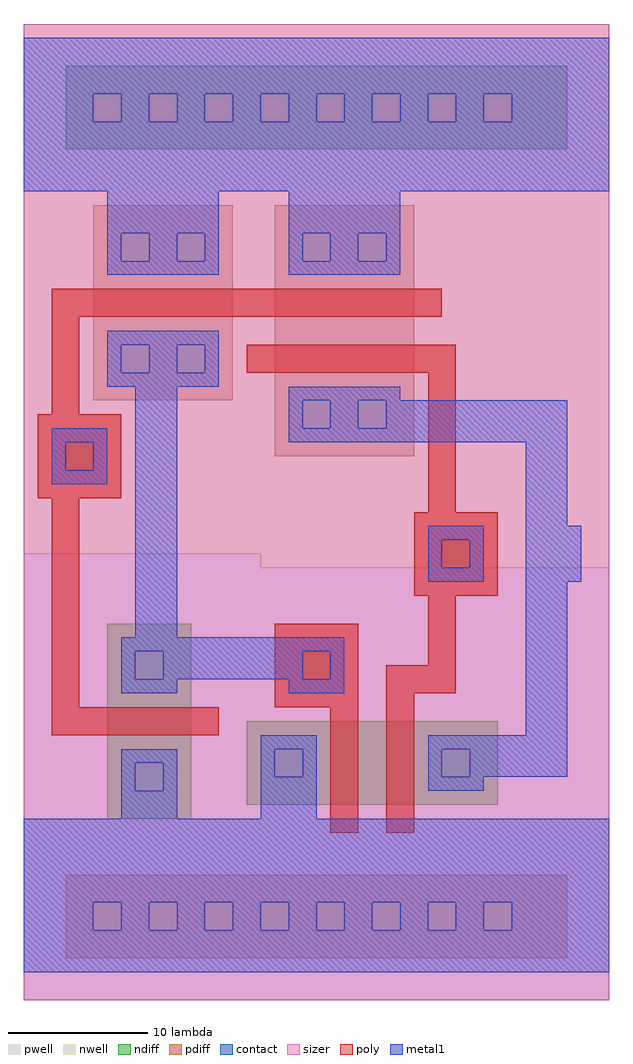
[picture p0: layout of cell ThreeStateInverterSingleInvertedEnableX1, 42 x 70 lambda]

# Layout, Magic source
magic
tech LibreSilicon-test000-concept-mg-70-7
<< sizer >>
rect 0 0 42 70
<< metal1 >>
rect 0 65 42 69
rect 0 63 5 65
rect 7 63 9 65
rect 11 63 13 65
rect 15 63 17 65
rect 19 63 21 65
rect 23 63 25 65
rect 27 63 29 65
rect 31 63 33 65
rect 35 63 42 65
rect 0 58 42 63
rect 6 55 14 58
rect 19 55 27 58
rect 6 53 7 55
rect 9 53 11 55
rect 13 53 14 55
rect 19 53 20 55
rect 22 53 24 55
rect 26 53 27 55
rect 6 52 14 53
rect 19 52 27 53
rect 6 47 14 48
rect 6 45 7 47
rect 9 45 11 47
rect 13 45 14 47
rect 6 44 14 45
rect 8 26 11 44
rect 19 43 27 44
rect 19 41 20 43
rect 22 41 24 43
rect 26 41 39 43
rect 2 40 6 41
rect 19 40 39 41
rect 2 38 3 40
rect 5 38 6 40
rect 36 34 39 40
rect 2 37 6 38
rect 29 33 33 34
rect 36 30 40 34
rect 29 31 30 33
rect 32 31 33 33
rect 29 30 33 31
rect 36 19 39 30
rect 7 25 23 26
rect 7 23 8 25
rect 10 23 20 25
rect 22 23 23 25
rect 7 22 11 23
rect 19 22 23 23
rect 17 18 21 19
rect 29 18 39 19
rect 7 17 11 18
rect 17 16 18 18
rect 20 16 21 18
rect 29 16 30 18
rect 32 16 39 18
rect 7 15 8 17
rect 10 15 11 17
rect 17 13 21 16
rect 29 15 33 16
rect 7 13 11 15
rect 0 7 42 13
rect 0 5 5 7
rect 7 5 9 7
rect 11 5 13 7
rect 15 5 17 7
rect 19 5 21 7
rect 23 5 25 7
rect 27 5 29 7
rect 31 5 33 7
rect 35 5 42 7
rect 0 2 42 5
<< contact >>
rect 5 63 7 65
rect 9 63 11 65
rect 13 63 15 65
rect 17 63 19 65
rect 21 63 23 65
rect 25 63 27 65
rect 29 63 31 65
rect 33 63 35 65
rect 7 53 9 55
rect 11 53 13 55
rect 20 53 22 55
rect 24 53 26 55
rect 7 45 9 47
rect 11 45 13 47
rect 20 41 22 43
rect 24 41 26 43
rect 3 38 5 40
rect 30 31 32 33
rect 8 23 10 25
rect 20 23 22 25
rect 18 16 20 18
rect 30 16 32 18
rect 8 15 10 17
rect 5 5 7 7
rect 9 5 11 7
rect 13 5 15 7
rect 17 5 19 7
rect 21 5 23 7
rect 25 5 27 7
rect 29 5 31 7
rect 33 5 35 7
<< poly >>
rect 2 49 30 51
rect 2 42 4 49
rect 16 45 31 47
rect 29 35 31 45
rect 1 36 7 42
rect 2 21 4 36
rect 28 29 34 35
rect 29 24 31 29
rect 18 21 24 27
rect 26 22 31 24
rect 26 12 28 22
rect 2 19 14 21
rect 22 12 24 21
<< ndiff >>
rect 3 61 39 67
rect 6 13 12 27
rect 16 14 34 20
<< pdiff >>
rect 5 43 15 57
rect 18 39 28 57
rect 3 3 39 9
<< nwell >>
rect 0 32 42 70
rect 17 31 42 32
<< pwell >>
rect 0 31 17 32
rect 0 0 42 31
<< end >>
